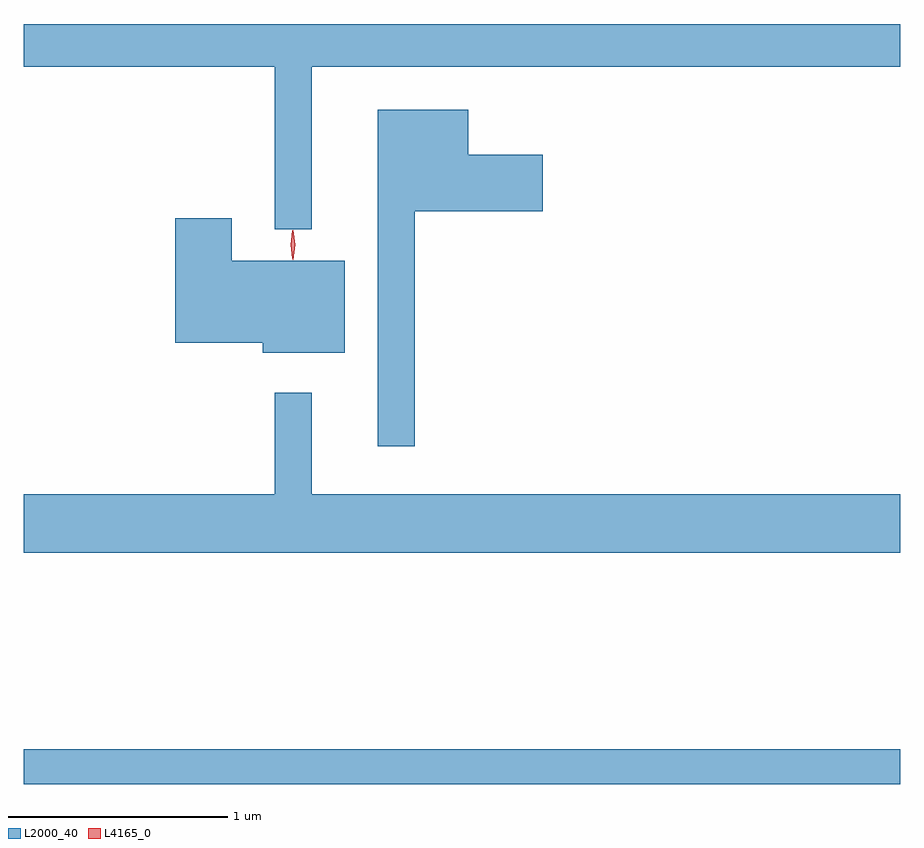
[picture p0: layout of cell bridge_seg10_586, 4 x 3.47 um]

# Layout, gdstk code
import gdstk
lib = gdstk.Library(unit=1e-6, precision=1e-09)
def R(c, l, rs):  # rectangles x0, y0, x1, y1
    for r in rs: c.add(gdstk.rectangle(r[:2], r[2:], *l))
def P(c, l, *ps):  # polygons
    for p in ps: c.add(gdstk.Polygon(p, *l))
L2000_40 = (2000, 40)
L4165_0 = (4165, 0)

bridge_seg10_586 = lib.new_cell('bridge_seg10_586')
R(bridge_seg10_586, L2000_40, [(768.835,2146.161,772.835,2146.319)])
P(bridge_seg10_586, L2000_40, [(770.149,2149.436),(772.835,2149.436),(772.835,2149.631),(768.835,2149.631),(768.835,2149.436),(769.981,2149.436),(769.981,2148.693),(770.149,2148.693)],
  [(770.619,2148.776),(771.204,2148.776),(771.204,2149.034),(770.864,2149.034),(770.864,2149.239),(770.451,2149.239),(770.451,2147.703),(770.619,2147.703)],
  [(770.299,2148.549),(769.784,2148.549),(769.784,2148.744),(769.526,2148.744),(769.526,2148.176),(769.926,2148.176),(769.926,2148.131),(770.299,2148.131)],
  [(772.835,2147.484),(770.149,2147.484),(770.149,2147.948),(769.981,2147.948),(769.981,2147.484),(768.835,2147.484),(768.835,2147.216),(772.835,2147.216)])
P(bridge_seg10_586, L4165_0, [(770.063,2148.554),(770.054,2148.622),(770.063,2148.69),(770.064,2148.69),(770.064,2148.69),(770.074,2148.622),(770.064,2148.554),(770.064,2148.554)],
  [(770.061,2148.562),(770.052,2148.624),(770.061,2148.686),(770.062,2148.687),(770.062,2148.686),(770.072,2148.624),(770.062,2148.562),(770.062,2148.562)])

lib.write_gds('bridge_seg10_586.gds')
